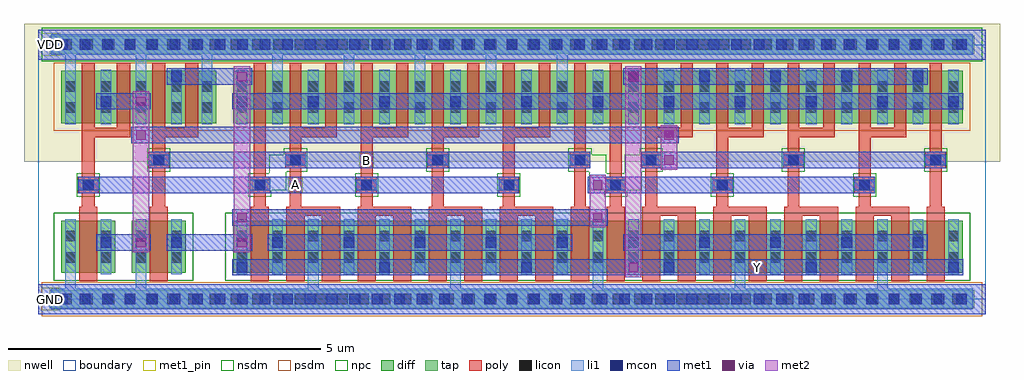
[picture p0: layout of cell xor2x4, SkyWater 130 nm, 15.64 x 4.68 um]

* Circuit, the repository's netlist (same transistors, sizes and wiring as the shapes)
** sch_path: /foss/designs/xor2x4.sch
.subckt xor2x4 A Y VDD GND B
*.PININFO A:I Y:O VDD:B GND:B B:I
XM2 Y A net1 GND sky130_fd_pr__nfet_01v8 L=0.29 W=4.2 nf=5
XM5 net3 A VDD VDD sky130_fd_pr__pfet_01v8 L=0.19 W=4.2 nf=5
XM9 Abar A GND GND sky130_fd_pr__nfet_01v8 L=0.29 W=0.84 nf=1
XM10 Abar A VDD VDD sky130_fd_pr__pfet_01v8 L=0.21 W=1.68 nf=2
XM6 Y Abar net3 VDD sky130_fd_pr__pfet_01v8 L=0.19 W=4.2 nf=5
XM8 Y Bbar net3 VDD sky130_fd_pr__pfet_01v8 L=0.19 W=4.2 nf=5
XM7 net3 B VDD VDD sky130_fd_pr__pfet_01v8 L=0.19 W=4.2 nf=5
XM1 net1 B GND GND sky130_fd_pr__nfet_01v8 L=0.29 W=4.2 nf=5
XM4 Y Abar net2 GND sky130_fd_pr__nfet_01v8 L=0.29 W=4.2 nf=5
XM3 net2 Bbar GND GND sky130_fd_pr__nfet_01v8 L=0.29 W=4.2 nf=5
XM12 Bbar B VDD VDD sky130_fd_pr__pfet_01v8 L=0.21 W=1.68 nf=2
XM11 Bbar B GND GND sky130_fd_pr__nfet_01v8 L=0.29 W=0.84 nf=1
.ends

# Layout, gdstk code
import gdstk
lib = gdstk.Library(unit=1e-6, precision=1e-09)
def R(c, l, rs):  # rectangles x0, y0, x1, y1
    for r in rs: c.add(gdstk.rectangle(r[:2], r[2:], *l))
def A(c, l, x, y, w, h, nx, ny, dx, dy):  # array of equal rectangles
    R(c, l, [(x+i*dx, y+j*dy, x+i*dx+w, y+j*dy+h) for i in range(nx) for j in range(ny)])
nwell = (64, 20)
diff = (65, 20)
tap = (65, 44)
poly = (66, 20)
licon = (66, 44)
li1 = (67, 20)
mcon = (67, 44)
met1_pin = (68, 16)
met1 = (68, 20)
via = (68, 44)
met2 = (69, 20)
nsdm = (93, 44)
psdm = (94, 20)
npc = (95, 20)
boundary = (235, 4)

xor2x4 = lib.new_cell('xor2x4')
R(xor2x4, nwell, [(-0.23,2.2,15.41,4.41)])
R(xor2x4, diff, [(0.37,0.42,1.23,1.26), (1.5,0.42,2.36,1.26), (3.12,0.42,14.81,1.26), (0.37,2.82,2.85,3.66), (3.12,2.82,14.81,3.66)])
R(xor2x4, tap, [(0.18,-0.145,15,0.145), (0.18,3.935,15,4.225)])
A(xor2x4, poly, 3.975, 0.29, 0.29, 1.045, 8, 1, 0.57, 0)
A(xor2x4, poly, 9.675, 0.29, 0.29, 1.045, 8, 1, 0.57, 0)
A(xor2x4, poly, 3.975, 1.335, 0.86, 0.15, 4, 1, 1.14, 0)
A(xor2x4, poly, 9.675, 1.335, 0.86, 0.15, 4, 1, 1.14, 0)
A(xor2x4, poly, 4.025, 1.485, 0.19, 0.61, 3, 1, 2.28, 0)
A(xor2x4, poly, 7.445, 1.485, 0.19, 0.21, 3, 1, 1.71, 0)
A(xor2x4, poly, 9.725, 1.485, 0.19, 0.61, 3, 1, 2.28, 0)
A(xor2x4, poly, 7.375, 1.695, 0.33, 0.27, 3, 1, 1.71, 0)
A(xor2x4, poly, 3.955, 2.095, 0.33, 0.27, 3, 1, 2.28, 0)
A(xor2x4, poly, 9.655, 2.095, 0.33, 0.27, 3, 1, 2.28, 0)
A(xor2x4, poly, 4.025, 2.595, 0.76, 0.15, 4, 1, 1.14, 0)
A(xor2x4, poly, 9.725, 2.595, 0.76, 0.15, 4, 1, 1.14, 0)
A(xor2x4, poly, 0.695, 2.745, 0.21, 1.045, 3, 1, 0.565, 0)
A(xor2x4, poly, 4.025, 2.745, 0.19, 1.045, 8, 1, 0.57, 0)
A(xor2x4, poly, 9.725, 2.745, 0.19, 1.045, 8, 1, 0.57, 0)
R(xor2x4, poly, [(0.655,0.29,0.945,1.485), (1.785,0.29,2.075,1.485), (3.405,0.29,3.695,1.485), (8.535,0.29,8.825,1.485), (9.105,0.29,9.395,1.485), (14.235,0.29,14.525,1.485), (0.695,1.485,0.905,1.695), (1.825,1.485,2.035,2.095), (3.455,1.485,3.645,1.695), (5.165,1.485,5.355,1.695), (13.145,1.485,13.335,1.695), (0.635,1.695,0.965,1.965), (3.385,1.695,3.715,1.965), (5.095,1.695,5.425,1.965), (13.075,1.695,13.405,1.965), (0.695,1.965,0.905,2.595), (3.455,1.965,3.645,3.79), (5.165,1.965,5.355,2.595), (7.445,1.965,7.635,2.595), (9.155,1.965,9.345,3.79), (10.865,1.965,11.055,2.595), (13.145,1.965,13.335,2.595), (1.765,2.095,2.095,2.365), (1.825,2.365,2.035,2.595), (4.025,2.365,4.215,2.595), (6.305,2.365,6.495,2.595), (8.585,2.365,8.775,3.79), (9.725,2.365,9.915,2.595), (12.005,2.365,12.195,2.595), (14.285,2.365,14.475,3.79), (0.695,2.595,1.47,2.745), (1.825,2.595,2.565,2.745), (2.355,2.745,2.565,3.79)])
A(xor2x4, licon, 0.365, -0.085, 0.17, 0.17, 43, 2, 0.34, 4.08)
A(xor2x4, licon, 3.18, 0.585, 0.17, 0.17, 21, 2, 0.57, 0.34)
A(xor2x4, licon, 7.455, 1.745, 0.17, 0.17, 3, 1, 1.71, 0)
A(xor2x4, licon, 4.035, 2.145, 0.17, 0.17, 3, 1, 2.28, 0)
A(xor2x4, licon, 9.735, 2.145, 0.17, 0.17, 3, 1, 2.28, 0)
A(xor2x4, licon, 3.18, 2.985, 0.17, 0.17, 21, 2, 0.57, 0.34)
R(xor2x4, licon, [(0.43,0.585,0.6,0.755), (1,0.585,1.17,0.755), (1.56,0.585,1.73,0.755), (2.13,0.585,2.3,0.755), (0.43,0.925,0.6,1.095), (1,0.925,1.17,1.095), (1.56,0.925,1.73,1.095), (2.13,0.925,2.3,1.095), (0.715,1.745,0.885,1.915), (3.465,1.745,3.635,1.915), (5.175,1.745,5.345,1.915), (13.155,1.745,13.325,1.915), (1.845,2.145,2.015,2.315), (0.43,2.985,0.6,3.155), (1,2.985,1.17,3.155), (1.56,2.985,1.73,3.155), (2.13,2.985,2.3,3.155), (2.62,2.985,2.79,3.155), (0.43,3.325,0.6,3.495), (1,3.325,1.17,3.495), (1.56,3.325,1.73,3.495), (2.13,3.325,2.3,3.495), (2.62,3.325,2.79,3.495)])
A(xor2x4, li1, 4.32, 0.165, 0.17, 1.115, 5, 1, 2.28, 0)
A(xor2x4, li1, 4.89, 0.4, 0.17, 0.88, 3, 1, 0.57, 0)
A(xor2x4, li1, 7.17, 0.4, 0.17, 0.88, 3, 1, 0.57, 0)
A(xor2x4, li1, 9.45, 0.4, 0.17, 0.88, 3, 1, 0.57, 0)
A(xor2x4, li1, 11.73, 0.4, 0.17, 0.88, 3, 1, 0.57, 0)
A(xor2x4, li1, 7.375, 1.745, 0.33, 0.17, 3, 1, 1.71, 0)
A(xor2x4, li1, 3.955, 2.145, 0.33, 0.17, 3, 1, 2.28, 0)
A(xor2x4, li1, 9.655, 2.145, 0.33, 0.17, 3, 1, 2.28, 0)
A(xor2x4, li1, 3.18, 2.8, 0.17, 0.88, 6, 1, 1.14, 0)
A(xor2x4, li1, 3.75, 2.8, 0.17, 1.115, 5, 1, 1.14, 0)
A(xor2x4, li1, 9.45, 2.8, 0.17, 0.88, 10, 1, 0.57, 0)
R(xor2x4, li1, [(0.21,-0.165,14.97,0.165), (0.43,0.165,0.6,1.28), (1.56,0.165,1.73,1.28), (1,0.4,1.17,1.28), (2.13,0.4,2.3,1.28), (3.18,0.4,3.35,1.28), (3.75,0.4,3.92,1.28), (14.01,0.4,14.18,1.28), (14.58,0.4,14.75,1.28), (0.635,1.745,0.965,1.915), (3.385,1.745,3.715,1.915), (5.095,1.745,5.425,1.915), (13.075,1.745,13.405,1.915), (1.765,2.145,2.095,2.315), (0.43,2.8,0.6,3.915), (1,2.8,1.17,3.68), (1.56,2.8,1.73,3.915), (2.13,2.8,2.3,3.68), (2.62,2.8,2.79,3.915), (0.21,3.915,14.97,4.245)])
A(xor2x4, mcon, 0.305, -0.085, 0.17, 0.17, 41, 2, 0.36, 4.08)
A(xor2x4, mcon, 3.18, 0.425, 0.17, 0.17, 6, 1, 2.28, 0)
A(xor2x4, mcon, 3.75, 0.825, 0.17, 0.17, 10, 1, 1.14, 0)
A(xor2x4, mcon, 7.455, 1.745, 0.17, 0.17, 3, 1, 1.71, 0)
A(xor2x4, mcon, 4.035, 2.145, 0.17, 0.17, 3, 1, 2.28, 0)
A(xor2x4, mcon, 9.735, 2.145, 0.17, 0.17, 3, 1, 2.28, 0)
A(xor2x4, mcon, 3.18, 3.085, 0.17, 0.17, 11, 1, 1.14, 0)
A(xor2x4, mcon, 9.45, 3.485, 0.17, 0.17, 5, 1, 1.14, 0)
R(xor2x4, mcon, [(1,0.825,1.17,0.995), (2.13,0.825,2.3,0.995), (0.715,1.745,0.885,1.915), (3.465,1.745,3.635,1.915), (5.175,1.745,5.345,1.915), (13.155,1.745,13.325,1.915), (1.845,2.145,2.015,2.315), (1,3.085,1.17,3.255), (2.13,3.485,2.3,3.655)])
R(xor2x4, met1_pin, [(0.05,-0.18,0.35,0.18), (11.415,0.395,11.645,0.625), (4.005,1.715,4.235,1.945), (5.145,2.115,5.375,2.345), (0.05,3.9,0.35,4.26)])
R(xor2x4, met1, [(0,-0.24,15.18,0.24), (3.105,0.38,14.825,0.64), (0.925,0.78,1.805,1.04), (2.055,0.78,3.425,1.04), (3.675,0.78,8.555,1.04), (9.375,0.78,14.255,1.04), (3.105,1.18,9.125,1.44), (0.64,1.7,7.7,1.96), (8.805,1.7,13.4,1.96), (1.77,2.1,8.84,2.36), (9.66,2.1,14.54,2.36), (1.485,2.5,10.265,2.76), (0.925,3.04,1.805,3.3), (3.105,3.04,14.825,3.3), (2.055,3.44,3.425,3.7), (9.375,3.44,14.255,3.7), (0,3.84,15.18,4.32)])
R(xor2x4, via, [(9.46,0.435,9.61,0.585), (1.57,0.835,1.72,0.985), (3.19,0.835,3.34,0.985), (3.19,1.235,3.34,1.385), (8.89,1.235,9.04,1.385), (8.89,1.755,9.04,1.905), (10.03,2.155,10.18,2.305), (1.57,2.555,1.72,2.705), (10.03,2.555,10.18,2.705), (1.57,3.095,1.72,3.245), (3.19,3.495,3.34,3.645), (9.46,3.495,9.61,3.645)])
R(xor2x4, met2, [(9.405,0.35,9.665,3.73), (1.515,0.75,1.775,3.33), (3.135,0.75,3.395,3.73), (8.835,1.15,9.095,1.99), (9.975,2.07,10.235,2.79)])
R(xor2x4, nsdm, [(0.245,0.295,2.485,1.385), (2.995,0.295,14.935,1.385), (0.055,3.81,15.125,4.35)])
R(xor2x4, psdm, [(0.055,-0.27,15.125,0.27), (0.245,2.695,14.935,3.785)])
R(xor2x4, npc, [(0.615,1.645,0.985,2.015), (3.365,1.645,3.735,1.745), (5.075,1.645,5.445,2.015), (7.355,1.645,7.725,2.015), (9.065,1.645,9.435,1.745), (10.775,1.645,11.145,2.015), (13.055,1.645,13.425,2.015), (3.365,1.745,3.97,2.015), (8.83,1.745,9.67,2.015), (3.7,2.015,3.97,2.045), (8.83,2.015,9.1,2.045), (9.4,2.015,9.67,2.045), (1.745,2.045,2.115,2.415), (3.7,2.045,4.305,2.315), (6.215,2.045,6.585,2.415), (8.495,2.045,9.1,2.315), (9.4,2.045,10.005,2.315), (11.915,2.045,12.285,2.415), (14.195,2.045,14.565,2.415), (3.935,2.315,4.305,2.415), (8.495,2.315,8.865,2.415), (9.635,2.315,10.005,2.415)])
R(xor2x4, boundary, [(0,0,15.18,4.08)])
xor2x4.add(gdstk.Label('A', (4.12,1.83), layer=68, texttype=5))
xor2x4.add(gdstk.Label('Y', (11.53,0.51), layer=68, texttype=5))
xor2x4.add(gdstk.Label('VDD', (0.2,4.08), layer=68, texttype=5))
xor2x4.add(gdstk.Label('GND', (0.2,0), layer=68, texttype=5))
xor2x4.add(gdstk.Label('B', (5.26,2.23), layer=68, texttype=5))

lib.write_gds('xor2x4.gds')
